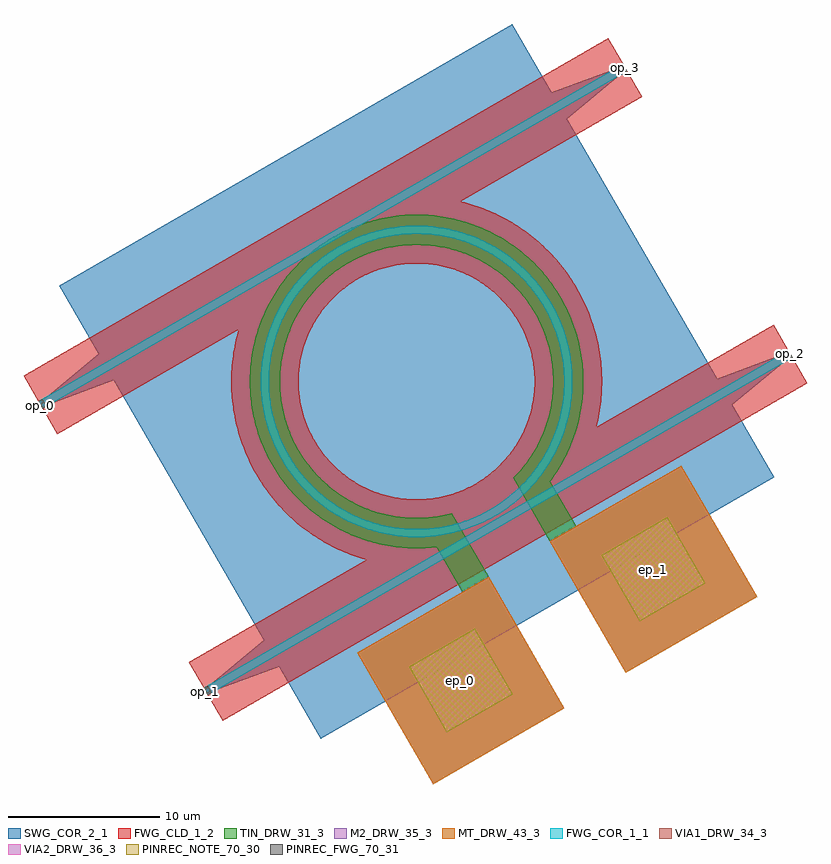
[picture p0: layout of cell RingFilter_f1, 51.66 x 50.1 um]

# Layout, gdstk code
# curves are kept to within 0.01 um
import gdstk
lib = gdstk.Library(unit=1e-6, precision=1e-09)
def P(c, l, *ps):  # polygons
    for p in ps: c.add(gdstk.Polygon(p, *l))
FWG_COR_1_1 = (1, 1)
FWG_CLD_1_2 = (1, 2)
SWG_COR_2_1 = (2, 1)
TIN_DRW_31_3 = (31, 3)
VIA1_DRW_34_3 = (34, 3)
M2_DRW_35_3 = (35, 3)
VIA2_DRW_36_3 = (36, 3)
MT_DRW_43_3 = (43, 3)
PINREC_NOTE_70_30 = (70, 30)
PINREC_FWG_70_31 = (70, 31)

ring = lib.new_cell('ring')
P(ring, FWG_COR_1_1, [(3.047,114.172),(2.591,114.888),(2.183,115.43),(1.621,116.065),(1.132,116.537),(0.478,117.076),(-0.078,117.466),(-0.66,117.815),(-1.265,118.124),(-1.89,118.389),(-2.694,118.658),(-3.353,118.822),(-4.022,118.94),(-4.697,119.011),(-5.375,119.035),(-6.223,118.998),(-6.896,118.915),(-7.563,118.786),(-8.38,118.559),(-9.018,118.327),(-9.638,118.051),(-10.384,117.646),(-10.953,117.276),(-11.495,116.868),(-12.007,116.422),(-12.487,115.942),(-12.933,115.43),(-13.341,114.888),(-13.797,114.172),(-14.116,113.573),(-14.392,112.953),(-14.624,112.315),(-14.851,111.497),(-14.98,110.831),(-15.047,110.326),(-15.087,109.819),(-15.099,109.14),(-15.063,108.462),(-15.005,107.956),(-14.921,107.454),(-14.769,106.793),(-14.624,106.305),(-14.392,105.667),(-14.189,105.2),(-13.881,104.595),(-13.531,104.013),(-13.243,103.594),(-12.933,103.19),(-12.487,102.677),(-12.131,102.314),(-11.626,101.86),(-11.228,101.543),(-10.672,101.154),(-10.09,100.804),(-9.638,100.569),(-9.018,100.293),(-8.541,100.115),(-7.892,99.916),(-7.397,99.797),(-6.728,99.679),(-6.223,99.622),(-5.545,99.586),(-5.036,99.591),(-4.358,99.638),(-3.854,99.705),(-3.353,99.797),(-2.694,99.962),(-2.049,100.171),(-1.575,100.358),(-1.112,100.569),(-0.66,100.804),(-0.078,101.154),(0.341,101.442),(0.745,101.752),(1.257,102.197),(1.621,102.554),(1.965,102.93),(2.392,103.457),(2.687,103.872),(2.961,104.301),(3.29,104.895),(3.577,105.51),(3.764,105.984),(3.925,106.466),(4.061,106.957),(4.171,107.454),(4.278,108.125),(4.326,108.631),(4.349,109.14),(4.337,109.819),(4.278,110.495),(4.171,111.165),(4.019,111.827),(3.82,112.476),(3.577,113.11),(3.366,113.573),(3.047,114.172),(3.523,114.447),(3.78,113.975),(4.012,113.489),(4.34,112.655),(4.595,111.796),(4.711,111.27),(4.8,110.74),(4.861,110.205),(4.894,109.668),(4.886,108.772),(4.844,108.236),(4.774,107.702),(4.675,107.173),(4.55,106.65),(4.397,106.135),(4.218,105.628),(3.86,104.806),(3.612,104.328),(3.339,103.865),(2.831,103.126),(2.496,102.705),(2.14,102.302),(1.763,101.919),(1.366,101.555),(0.951,101.213),(0.519,100.893),(-0.237,100.411),(-0.71,100.155),(-1.196,99.923),(-1.693,99.717),(-2.2,99.538),(-2.716,99.385),(-3.239,99.259),(-4.123,99.111),(-4.658,99.06),(-5.196,99.036),(-6.092,99.06),(-6.982,99.161),(-7.511,99.259),(-8.034,99.385),(-8.889,99.654),(-9.39,99.852),(-9.879,100.075),(-10.199,100.237),(-10.667,100.502),(-11.121,100.791),(-11.559,101.104),(-11.98,101.439),(-12.383,101.795),(-13.011,102.434),(-13.36,102.843),(-13.688,103.27),(-13.992,103.714),(-14.273,104.172),(-14.53,104.645),(-14.762,105.131),(-15.09,105.965),(-15.252,106.478),(-15.387,106.998),(-15.55,107.88),(-15.611,108.414),(-15.644,108.951),(-15.636,109.848),(-15.594,110.384),(-15.524,110.917),(-15.425,111.446),(-15.3,111.969),(-15.147,112.485),(-14.968,112.992),(-14.762,113.489),(-14.53,113.975),(-14.089,114.755),(-13.792,115.203),(-13.472,115.636),(-12.89,116.317),(-12.513,116.701),(-12.116,117.064),(-11.701,117.407),(-11.269,117.727),(-10.513,118.208),(-10.04,118.465),(-9.554,118.696),(-9.057,118.902),(-8.55,119.082),(-8.034,119.235),(-7.511,119.36),(-6.627,119.508),(-6.092,119.56),(-5.554,119.583),(-5.016,119.579),(-4.479,119.546),(-3.945,119.485),(-3.414,119.396),(-2.889,119.28),(-2.371,119.136),(-1.861,118.965),(-1.36,118.768),(-0.71,118.465),(-0.237,118.208),(0.221,117.927),(0.664,117.622),(1.091,117.295),(1.5,116.946),(2.14,116.317),(2.61,115.776),(3.042,115.203),(3.339,114.755),(3.523,114.447)])
P(ring, FWG_CLD_1_2, [(1.358,113.197),(1.071,113.657),(0.667,114.203),(0.218,114.711),(-0.274,115.178),(-0.805,115.6),(-1.255,115.903),(-1.725,116.175),(-2.337,116.467),(-2.972,116.704),(-3.494,116.854),(-4.159,116.989),(-4.833,117.066),(-5.511,117.084),(-6.053,117.055),(-6.725,116.967),(-7.256,116.854),(-7.778,116.704),(-8.413,116.467),(-9.025,116.175),(-9.61,115.83),(-10.054,115.519),(-10.577,115.088),(-10.968,114.711),(-11.417,114.203),(-11.821,113.657),(-12.108,113.197),(-12.363,112.718),(-12.634,112.096),(-12.849,111.453),(-12.98,110.926),(-13.092,110.257),(-13.145,109.581),(-13.149,109.174),(-13.12,108.632),(-13.074,108.228),(-12.98,107.693),(-12.849,107.167),(-12.726,106.779),(-12.584,106.397),(-12.363,105.901),(-12.175,105.54),(-11.896,105.075),(-11.665,104.74),(-11.331,104.312),(-11.061,104.007),(-10.776,103.717),(-10.476,103.442),(-10.054,103.1),(-9.61,102.789),(-9.262,102.576),(-8.905,102.382),(-8.413,102.153),(-7.906,101.958),(-7.518,101.836),(-7.124,101.734),(-6.725,101.653),(-6.188,101.577),(-5.782,101.546),(-5.239,101.536),(-4.833,101.554),(-4.427,101.593),(-3.891,101.678),(-3.494,101.766),(-2.972,101.915),(-2.462,102.101),(-2.089,102.263),(-1.725,102.445),(-1.371,102.645),(-1.027,102.864),(-0.696,103.1),(-0.274,103.442),(0.026,103.717),(0.311,104.007),(0.581,104.312),(0.915,104.74),(1.146,105.075),(1.358,105.422),(1.553,105.78),(1.728,106.147),(1.884,106.523),(2.135,107.297),(2.23,107.693),(2.304,108.094),(2.357,108.497),(2.395,109.038),(2.399,109.445),(2.381,109.852),(2.342,110.257),(2.282,110.66),(2.201,111.059),(2.06,111.583),(1.931,111.969),(1.782,112.348),(1.553,112.84),(1.358,113.197),(5.212,115.422),(5.518,114.86),(5.793,114.282),(6.038,113.691),(6.252,113.088),(6.434,112.474),(6.537,112.06),(6.664,111.433),(6.759,110.8),(6.804,110.375),(6.843,109.736),(6.848,109.096),(6.82,108.457),(6.783,108.032),(6.7,107.397),(6.583,106.768),(6.434,106.146),(6.252,105.532),(6.038,104.929),(5.793,104.337),(5.518,103.76),(5.212,103.197),(4.878,102.652),(4.515,102.124),(4.258,101.783),(3.851,101.289),(3.566,100.972),(3.117,100.516),(2.645,100.083),(2.152,99.676),(1.811,99.419),(1.283,99.057),(0.738,98.723),(0.175,98.417),(-0.403,98.142),(-0.994,97.897),(-1.597,97.683),(-2.005,97.558),(-2.625,97.398),(-3.252,97.27),(-3.885,97.176),(-4.522,97.114),(-4.948,97.092),(-5.588,97.087),(-6.228,97.114),(-6.865,97.176),(-7.498,97.27),(-8.125,97.398),(-8.539,97.501),(-9.153,97.683),(-9.756,97.897),(-10.347,98.142),(-10.925,98.417),(-11.302,98.617),(-11.853,98.942),(-12.387,99.296),(-12.902,99.676),(-13.395,100.083),(-13.867,100.516),(-14.316,100.972),(-14.601,101.289),(-14.876,101.616),(-15.265,102.124),(-15.628,102.652),(-15.962,103.197),(-16.268,103.76),(-16.543,104.337),(-16.788,104.929),(-17.002,105.532),(-17.127,105.94),(-17.287,106.56),(-17.414,107.187),(-17.509,107.82),(-17.554,108.244),(-17.593,108.883),(-17.598,109.523),(-17.57,110.163),(-17.509,110.8),(-17.45,111.222),(-17.333,111.852),(-17.184,112.474),(-17.002,113.088),(-16.863,113.491),(-16.628,114.086),(-16.363,114.669),(-16.067,115.237),(-15.854,115.606),(-15.51,116.146),(-15.138,116.667),(-14.876,117.003),(-14.46,117.49),(-14.019,117.954),(-13.555,118.395),(-13.068,118.81),(-12.561,119.2),(-12.033,119.563),(-11.488,119.897),(-10.734,120.298),(-10.152,120.563),(-9.556,120.798),(-8.745,121.061),(-7.917,121.268),(-7.076,121.416),(-6.228,121.505),(-5.588,121.533),(-4.735,121.518),(-4.097,121.468),(-3.252,121.349),(-2.625,121.222),(-1.801,121.001),(-1.194,120.798),(-0.403,120.478),(0.364,120.104),(1.103,119.677),(1.811,119.2),(2.483,118.675),(3.117,118.104),(3.71,117.49),(4.258,116.836),(4.76,116.146),(5.212,115.422)])

bus = lib.new_cell('bus')
P(bus, FWG_COR_1_1, [(-19.407,89.113),(19.132,111.363),(19.407,110.887),(-19.132,88.637)])
P(bus, FWG_CLD_1_2, [(-20.382,90.802),(18.157,113.052),(19.132,111.363),(19.407,110.887),(20.382,109.198),(-18.157,86.948),(-19.132,88.637),(-19.407,89.113)])
P(bus, PINREC_FWG_70_31, [(-18.872,88.787),(-19.147,89.263),(-19.407,89.113),(-19.132,88.637)],
  [(18.872,111.213),(19.147,110.737),(19.407,110.887),(19.132,111.363)])
bus.add(gdstk.Label('op_0', (-19.269,88.875), layer=70, texttype=41))
bus.add(gdstk.Label('op_1', (19.269,111.125), layer=70, texttype=41))

monitor = lib.new_cell('monitor')
P(monitor, FWG_COR_1_1, [(-30.307,107.993),(8.232,130.243),(8.507,129.766),(-30.032,107.516)])
P(monitor, FWG_CLD_1_2, [(-31.282,109.681),(7.257,131.931),(8.232,130.243),(8.507,129.766),(9.482,128.077),(-29.057,105.827),(-30.032,107.516),(-30.307,107.993)])
P(monitor, PINREC_FWG_70_31, [(-29.772,107.666),(-30.047,108.143),(-30.307,107.993),(-30.032,107.516)],
  [(7.972,130.093),(8.247,129.616),(8.507,129.766),(8.232,130.243)])
monitor.add(gdstk.Label('op_0', (-30.169,107.754), layer=70, texttype=41))
monitor.add(gdstk.Label('op_1', (8.369,130.004), layer=70, texttype=41))

ringfilter_f1 = lib.new_cell('RingFilter_f1')
P(ringfilter_f1, SWG_COR_2_1, [(-28.939,115.624),(-11.689,85.746),(18.189,102.996),(0.939,132.874)],
  [(14.439,109.491),(19.194,111.255),(19.344,110.995),(15.439,107.759)],
  [(3.539,128.37),(8.294,130.134),(8.444,129.874),(4.539,126.638)],
  [(-30.244,107.884),(-26.339,111.12),(-25.339,109.388),(-30.094,107.624)],
  [(-19.344,89.005),(-15.439,92.241),(-14.439,90.509),(-19.194,88.745)])
P(ringfilter_f1, TIN_DRW_31_3, [(0.989,102.946),(1.417,103.405),(1.906,104.02),(2.339,104.674),(2.644,105.224),(2.91,105.793),(3.135,106.38),(3.358,107.132),(3.488,107.747),(3.576,108.369),(3.624,109.153),(3.613,109.781),(3.558,110.407),(3.46,111.027),(3.276,111.79),(3.082,112.388),(2.782,113.113),(2.497,113.673),(2.086,114.342),(1.717,114.851),(1.207,115.448),(0.763,115.892),(0.166,116.402),(-0.342,116.771),(-0.875,117.104),(-1.571,117.467),(-2.15,117.712),(-2.894,117.961),(-3.504,118.113),(-4.278,118.243),(-4.904,118.297),(-5.689,118.304),(-6.316,118.26),(-6.783,118.199),(-7.246,118.113),(-7.704,118.003),(-8.156,117.869),(-8.6,117.712),(-9.036,117.532),(-9.461,117.329),(-9.875,117.104),(-10.277,116.858),(-10.665,116.591),(-11.28,116.102),(-11.627,115.784),(-11.957,115.448),(-12.269,115.095),(-12.563,114.726),(-12.836,114.342),(-13.089,113.945),(-13.321,113.535),(-13.532,113.113),(-13.72,112.681),(-13.885,112.24),(-14.026,111.79),(-14.144,111.334),(-14.238,110.873),(-14.308,110.407),(-14.353,109.938),(-14.374,109.467),(-14.369,108.996),(-14.341,108.525),(-14.287,108.057),(-14.21,107.592),(-14.108,107.132),(-13.982,106.678),(-13.72,105.938),(-13.394,105.224),(-13.007,104.541),(-12.563,103.893),(-12.269,103.525),(-11.957,103.172),(-11.397,102.621),(-10.791,102.122),(-10.408,101.848),(-10.01,101.595),(-9.6,101.363),(-9.036,101.088),(-8.6,100.908),(-8.156,100.75),(-7.704,100.616),(-7.092,100.475),(-6.628,100.397),(-6.159,100.344),(-5.689,100.315),(-5.061,100.315),(-4.591,100.344),(-4.122,100.397),(-3.504,100.506),(-3.046,100.616),(-2.528,98.685),(-3.088,98.55),(-3.844,98.417),(-4.608,98.337),(-5.375,98.31),(-6.142,98.337),(-6.906,98.417),(-7.662,98.55),(-8.222,98.685),(-8.956,98.909),(-9.673,99.184),(-10.197,99.423),(-10.875,99.783),(-11.366,100.084),(-11.995,100.525),(-12.592,101.008),(-13.153,101.532),(-13.55,101.949),(-13.924,102.387),(-14.274,102.844),(-14.494,103.159),(-14.704,103.481),(-14.996,103.977),(-15.262,104.488),(-15.501,105.012),(-15.837,105.911),(-16,106.463),(-16.135,107.023),(-16.24,107.589),(-16.315,108.16),(-16.36,108.734),(-16.375,109.31),(-16.36,109.885),(-16.315,110.46),(-16.24,111.031),(-16.135,111.597),(-16,112.157),(-15.837,112.709),(-15.501,113.608),(-15.262,114.132),(-14.996,114.643),(-14.704,115.139),(-14.494,115.461),(-14.16,115.93),(-13.924,116.232),(-13.55,116.67),(-13.153,117.088),(-12.735,117.484),(-12.298,117.858),(-11.841,118.209),(-11.366,118.535),(-10.875,118.836),(-10.369,119.111),(-9.496,119.509),(-8.956,119.711),(-8.407,119.884),(-7.474,120.108),(-6.525,120.25),(-5.951,120.295),(-5.375,120.31),(-4.799,120.295),(-4.225,120.25),(-3.276,120.108),(-2.343,119.884),(-1.794,119.711),(-1.254,119.509),(-0.381,119.111),(0.125,118.836),(0.616,118.535),(1.091,118.209),(1.548,117.858),(1.985,117.484),(2.403,117.088),(2.8,116.67),(3.174,116.232),(3.636,115.619),(3.954,115.139),(4.246,114.643),(4.512,114.132),(4.751,113.608),(4.962,113.072),(5.199,112.342),(5.343,111.784),(5.458,111.22),(5.543,110.65),(5.61,109.885),(5.625,109.31),(5.61,108.734),(5.565,108.16),(5.49,107.589),(5.423,107.211),(5.25,106.463),(5.026,105.729),(4.751,105.012),(4.426,104.316),(4.246,103.977),(3.954,103.481),(3.524,102.844),(3.174,102.387),(2.927,102.093),(2.403,101.532)],
  [(0.989,102.946),(3.405,98.761),(5.137,99.761),(2.721,103.946)],
  [(-4.778,99.616),(-2.362,95.432),(-0.63,96.432),(-3.046,100.616)],
  [(-9.29,91.432),(-4.29,82.772),(4.37,87.772),(-0.63,96.432)],
  [(3.405,98.761),(8.405,90.101),(17.065,95.101),(12.065,103.761)])
P(ringfilter_f1, VIA1_DRW_34_3, [(6.82,97.846),(9.32,93.516),(13.65,96.016),(11.15,100.346)],
  [(-5.875,90.517),(-3.375,86.187),(0.955,88.687),(-1.545,93.017)])
P(ringfilter_f1, M2_DRW_35_3, [(3.405,98.761),(8.405,90.101),(17.065,95.101),(12.065,103.761)],
  [(-9.29,91.432),(-4.29,82.772),(4.37,87.772),(-0.63,96.432)])
P(ringfilter_f1, VIA2_DRW_36_3, [(6.82,97.846),(9.32,93.516),(13.65,96.016),(11.15,100.346)],
  [(-5.875,90.517),(-3.375,86.187),(0.955,88.687),(-1.545,93.017)])
P(ringfilter_f1, MT_DRW_43_3, [(3.405,98.761),(8.405,90.101),(17.065,95.101),(12.065,103.761)],
  [(-9.29,91.432),(-4.29,82.772),(4.37,87.772),(-0.63,96.432)])
P(ringfilter_f1, PINREC_NOTE_70_30, [(6.82,97.846),(9.32,93.516),(13.65,96.016),(11.15,100.346)],
  [(-5.875,90.517),(-3.375,86.187),(0.955,88.687),(-1.545,93.017)])
P(ringfilter_f1, PINREC_FWG_70_31, [(-29.772,107.666),(-30.047,108.143),(-30.307,107.993),(-30.032,107.516)],
  [(-18.872,88.787),(-19.147,89.263),(-19.407,89.113),(-19.132,88.637)],
  [(18.872,111.213),(19.147,110.737),(19.407,110.887),(19.132,111.363)],
  [(7.972,130.093),(8.247,129.616),(8.507,129.766),(8.232,130.243)])
ringfilter_f1.add(gdstk.Reference(ring, (0,0)))
ringfilter_f1.add(gdstk.Reference(bus, (0,0)))
ringfilter_f1.add(gdstk.Reference(monitor, (0,0)))
ringfilter_f1.add(gdstk.Label('op_0', (-30.169,107.754), layer=70, texttype=41))
ringfilter_f1.add(gdstk.Label('op_1', (-19.269,88.875), layer=70, texttype=41))
ringfilter_f1.add(gdstk.Label('op_2', (19.269,111.125), layer=70, texttype=41))
ringfilter_f1.add(gdstk.Label('op_3', (8.369,130.004), layer=70, texttype=41))
ringfilter_f1.add(gdstk.Label('ep_0', (-2.46,89.602), layer=70, texttype=41))
ringfilter_f1.add(gdstk.Label('ep_1', (10.235,96.931), layer=70, texttype=41))

lib.write_gds('RingFilter_f1.gds')
